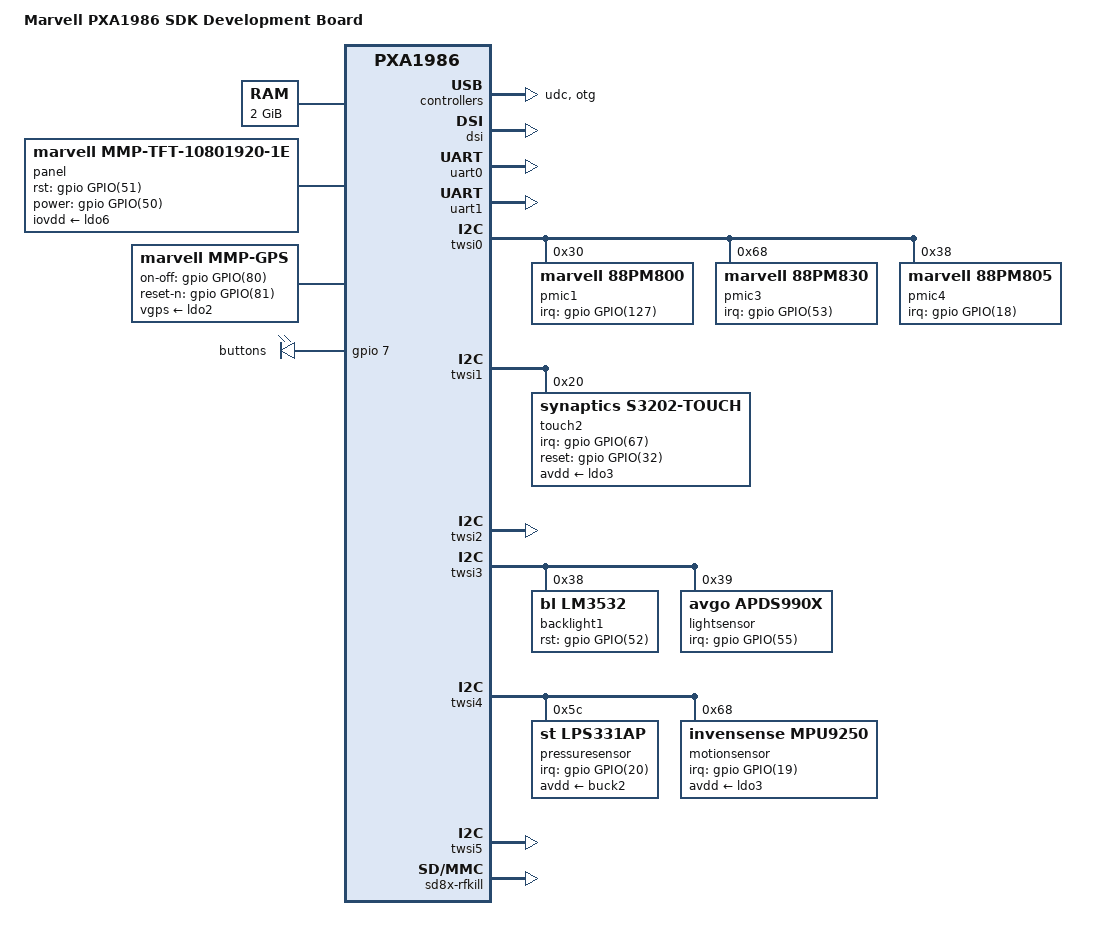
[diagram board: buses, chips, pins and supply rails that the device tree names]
/*
 *  Copyright (C) 2012 Marvell Technology Group Ltd.
 *  Author: Haojian Zhuang <haojian.zhuang@marvell.com>
 *
 *  This program is free software; you can redistribute it and/or modify
 *  it under the terms of the GNU General Public License version 2 as
 *  publishhed by the Free Software Foundation.
 */

/dts-v1/;
/memreserve/ 0x09000000 0x01000000;	/* ION (16MB)*/
/memreserve/ 0x17000000 0x01800000;	/* Frame buffer (24MB) */
/memreserve/ 0x08100000 0x00040000;	/* ramoops buffer (256KB) */
#include "pxa1986.dtsi"
#include "regulator.h"
#include <dt-bindings/mmc/pxa_sdhci.h>

#define KEY_MENU	139	/* Menu (show menu) */
#define KEY_HOMEPAGE		172	/* AC Home */
#define KEY_BACK		158	/* AC Back */
#define KEY_VOLUME_UP		115
#define KEY_VOLUME_DOWN		114

/ {
	model = "Marvell PXA1986 SDK Development Board";
	compatible = "mrvl,pxa1986sdk", "mrvl,pxa1986";

	chosen {
		bootargs = "console=ttyS0,115200 root=/dev/nfs nfsroot=192.168.1.100:/nfsroot/ ip=192.168.1.101:192.168.1.100::255.255.255.0::usb0:on";
	};

	memory {
		reg = <0x00000000 0x80000000>;
	};

	gic: interrupt-controller@d0022000 {
		status = "okay";
	};

	soc {
		axi@d4200000 {	/* AXI */
			usbphy: usbphy@d4220000 {
				marvell,udc-name = "mv-udc";
				marvell,otg-name = "mv-otg";
				status = "okay";
			};

			udc: udc@d4208100 {
				status = "okay";
			};

			otg: otg@d4208100 {
				status = "okay";
			};

			dsi: dsi@d420b800 {
				marvell,phy-name = "mmp_dsi1";
				marvell,plat-path-name = "mmp_pnpath";
				marvell,dsi-lanes = <4>;
				marvell,burst-mode = <2>;
				marvell,hbp-en;
				status = "okay";
			};

			vdma: vdma@d427f000 {
				marvell,vdma-num = <4>;
				isram = <&isram_z1>;
				status = "okay";
				vdma1 {
					marvell,vdma-id = <0>;
					marvell,sram-size = <17408>;
					marvell,is_vid = <0>;
				};
				vdma2 {
					marvell,vdma-id = <1>;
					marvell,sram-size = <15360>;
					marvell,is_vid = <0>;
				};
				vdma3 {
					marvell,vdma-id = <2>;
					marvell,sram-size = <17408>;
					marvell,is_vid = <1>;
				};
				vdma4 {
					marvell,vdma-id = <3>;
					marvell,sram-size = <8704>;
					marvell,is_vid = <1>;
				};
			};

			disp: disp@d420b000 {
				marvell,disp-name = "mmp_disp";
				marvell,path-num = <1>;
				status = "okay";
				path1 {
					marvell,path-name = "mmp_pnpath";
					marvell,overlay-num = <2>;
					marvell,overlay-table = <0>, <1>;
					marvell,output-type = <1>;
/* FIXME - Need to check path config */
					marvell,path-config = <0x10>;
					marvell,link-config = <1>;
					pn_sclk_clksrc {
						clksrc = "disp1";
					};
					disp1_clksrc {
						clksrc = "pll1_500";
					};
				};
			};
/* FIXME - need to add when enable camera */
#if 0
			ccic2: ccic@d420a800 {
				pinctrl-names = "default";
				pinctrl-0 = <&ccic2_pins>;
				pwdn-gpios = <&gpio GPIO(13) 0>;
				reset-gpios = <&gpio GPIO(111) 0>;
				fn_parent = "pll1_624";
				af_2v8-supply = <&ldo4>;
				avdd_2v8-supply = <&ldo13>;
				dovdd_1v8-supply = <&voutsw>;
				dvdd_1v2-supply = <&ldo3>;
				status = "okay";
			};
#endif
			fb: fb {
				marvell,fb-name = "mmp_fb";
				marvell,path-name = "mmp_pnpath";
				marvell,overlay-id = <1>;
				marvell,default-pixfmt = <0x108>;
				marvell,buffer-num = <3>;
				marvell,fb-mem = <0x17000000>;
				status = "okay";
			};

			adma: adma@c0200000 {
				status = "okay";
			};

/* EMMC card */
			sdh1: sdh@d4280000 {
				bus-width = <8>;
				marvell,sdh-flags = <(
						PXA_FLAG_SD_8_BIT_CAPABLE_SLOT |
						PXA_FLAG_ENABLE_CLOCK_GATING |
						PXA_FLAG_NEW_RX_CFG_REG |
						PXA_FLAG_EN_PM_RUNTIME
						)>;
				marvell,sdh-quirks2 = <SDHCI_QUIRK2_BUS_CLK_GATE_ENABLED>;
				marvell,sdh-host-caps = <MMC_CAP_1_8V_DDR>;
				non-removable;
				broken-cd;
				status = "okay";
			};

/* SD card */
			sdh3: sdh@d4281000 {
				marvell,sdh-flags = <(
						PXA_FLAG_ENABLE_CLOCK_GATING |
						PXA_FLAG_NEW_RX_CFG_REG |
						PXA_FLAG_TX_SEL_BUS_CLK
						)>;
				marvell,sdh-quirks2 = <SDHCI_QUIRK2_BUS_CLK_GATE_ENABLED>;
				cd-gpios = <&gpio GPIO(76) 0>;
				cd-inverted;
				vqmmc-supply	= <&ldo9>;
				vmmc-supply	= <&ldo4>;
				bus-width = <4>;
				wp-inverted;
				status = "okay";
			};

/* SDIO */
			sdh4: sdh@d4281800 {
				marvell,sdh-flags = <(
						PXA_FLAG_EN_PM_RUNTIME	|
						PXA_FLAG_WAKEUP_HOST	|
						PXA_FLAG_NEW_RX_CFG_REG	|
						PXA_FLAG_TX_SEL_BUS_CLK	|
						PXA_FLAG_ENABLE_CLOCK_GATING |
						PXA_FLAG_DISABLE_PROBE_CDSCAN
						)>;
				marvell,sdh-quirks2 = <(
						SDHCI_QUIRK2_BUS_CLK_GATE_ENABLED |
						SDHCI_QUIRK2_SDIO_SW_CLK_GATE
						)>;
				marvell,sdh-host-caps2 = <(MMC_CAP2_NO_VOLTAGE_SWITCH)>;
				bus-width = <4>;
				non-removable;
				broken-cd;
				keep-power-in-suspend;
				status = "okay";
			};
		};

		axi@f0400000 {
			dec@0xf0400000 {
				marvell,codec-type = <0>;
				marvell,hw-capacity = <0>;
				status = "okay";
			};

			pp@0xf0400000 {
				marvell,codec-type = <1>;
				marvell,hw-capacity = <0>;
				status = "okay";
			};

			enc@0xf0401000 {
				marvell,codec-type = <2>;
				marvell,hw-capacity = <0>;
				status = "okay";
			};
		};

		apb@d4000000 {

			/* SSPA port 0 */
			sspa0: sspa@c0204000 {
				status = "okay";
			};

			/* PDMA Controller 0 */
			pdma0: pdma@d4000000 {
				status = "okay";
			};

			/* UART for AP */
			uart0: uart@d4030000 {
				status = "okay";
			};

			/* UART for GPS */
			uart1: uart@d4017000 {
				status = "okay";
			};

/* FIXME - add when gpio will  be enabled */
#if 0
			gpio: gpio@d4019000 {
				status = "okay";
			};
#endif

			twsi0: i2c@d430b000 {
#if 0
				pinctrl-names = "default"; pinctrl-0 = <&twsi1_pins>;
#endif
				status = "okay";
				pmic1: 88pm822@30 {
					compatible = "marvell,88pm800";
					reg = <0x30>;
					interrupts = <GPIO(127) IRQ_TYPE_EDGE_FALLING>;
					interrupt-parent = <&gpio>;
					interrupt-controller;
					#interrupt-cells = <1>;
					marvell,88pm800-power-page-addr = <0x31>;
					marvell,88pm800-gpadc-page-addr = <0x32>;

					regulators {
						compatible = "marvell,88pm80x-regulator";

						buck1: BUCK1 {PM800_BUCK1;regulator-boot-on;regulator-always-on;};
						buck2: BUCK2 {PM800_BUCK2;regulator-boot-on;regulator-always-on;};
						buck3: BUCK3 {PM800_BUCK3;regulator-boot-on;regulator-always-on;};
						buck4: BUCK4 {PM800_BUCK4;regulator-boot-on;regulator-always-on;};
						buck5: BUCK5 {PM800_BUCK5;regulator-boot-on;regulator-always-on;};
						ldo1: LDO1 {PM800_LDO1;regulator-boot-on;regulator-always-on;};
						ldo2: LDO2 {PM800_LDO2;regulator-boot-on;};
						ldo3: LDO3 {PM800_LDO3;regulator-boot-on;regulator-always-on;};
						ldo4: LDO4 {PM800_LDO4;regulator-boot-on;};
						ldo5: LDO5 {PM800_LDO5;regulator-boot-on;regulator-always-on;};
						ldo6: LDO6 {PM800_LDO6;regulator-boot-on;};
						ldo7: LDO7 {PM800_LDO7;regulator-boot-on;};
						ldo8: LDO8 {PM800_LDO8;regulator-boot-on;};
						ldo9: LDO9 {PM800_LDO9;regulator-boot-on;};
						ldo10: LDO10 {PM800_LDO10;};
						ldo11: LDO11 {PM800_LDO11;regulator-boot-on;};
						ldo12: LDO12 {PM800_LDO12;regulator-boot-on;};
						ldo13: LDO13 {PM800_LDO13;regulator-boot-on;};
						ldo14: LDO14 {PM800_LDO14;regulator-boot-on;regulator-always-on;};
						voutsw: VOUTSW {PM800_VOUTSW;};
					};

					vibrator: vibrator {
						compatible = "marvell,88pm80x-vibrator";
						min_timeout = <10>;
						duty_cycle = <0x3f>;
						marvell,power-supply = <&ldo11>;
					};

					headset {
						compatible = "marvell,88pm80x-headset";
						marvell,switch-name = "h2w";
						marvell,headset-flag = <1>;
						marvell,hook-press-th = <60>;
						marvell,vol-up-press-th = <250>;
						marvell,vol-down-press-th = <500>;
						marvell,mic-det-th = <600>;
						marvell,press-release-th = <600>;
						marvell,micbias-supply = <&ldo14>;
					};
				};

				pmic3: 88pm830@68 {
					compatible = "marvell,88pm830";

					/* gpio 4, 5, 75 */
					pinctrl-names = "default";
#if 0
					pinctrl-0 = <&pmic3_pins>;
#endif
					reg = <0x68>;
					interrupt-parent = <&gpio>;
					interrupt-controller;
					interrupts = <GPIO(53) IRQ_TYPE_EDGE_FALLING>;
					#interrupt-cells = <1>;
					/* IRQF_ONESHOT | IRQF_TRIGGER_FALLING */
					marvell,88pm830-irq-flags =  <0x2002>;
					charger {
						compatible = "marvell,88pm830-chg";
						prechg-current = <260>;	/* mA */
						prechg-voltage = <3400>; /* mV */
						prechg-timeout = <16>; /* minute */
						fastchg-eoc = <50>; /* mA */
						fastchg-voltage = <4200>; /* mV */
						fastchg-timeout = <4>; /* hour */
						over-voltage = <4300>; /* mV */
						no-thermal-support = <0>;
						thermal-threshold = <0xf 0xf 0x0 0x0>;
						temp-configure = <0x22>;
						temp-threshold = <150>;
						mppt-weight = <0x2>; /* 25% */
						mppt-period = <0x5>; /* 10ms */
						mppt-bidir = <1>;  /* enable bi-directional */

					};

					battery {
						compatible = "marvell,88pm830-bat";
						bat-ntc-support = <1>;
						bat-capacity = <2400>;	/* mAh */
						external-resistor = <200>; /* mohm */
						sleep-period = <1000>; /* second */
						low-threshold = <30>; /* % */
						high-threshold = <50>; /* % */
						tbat-mon-en = <0>;
						/* ext cold thr: -20, -17.5, -15, dummy */
						/* cold thr:       0,   2.5,   5, dummy */
						/* hot thr:       35,  37.5,  40, dummy */
						/* ext hot thr:   40,  42.5,  45, dummy */
						r-tbat-thr = <
							77476	67851	59575	0
							28695	25603	22891	0
							6681	6291	5759	0
							5759	5280	4847	0
						>;
					};

					usb {
						compatible = "marvell,88pm830-vbus";
						gpadc-number = <1>;
					};
				};

				pmic4: 88pm805@38 {
					compatible = "marvell,88pm805";
					reg = <0x38>;
					interrupt-parent = <&gpio>;
					interrupts = <GPIO(18) 1>;
				};
			};

			twsi1: i2c@d4011000 {
#if 0
				pinctrl-names = "default"; pinctrl-0 = <&twsi2_pins>;
#endif
				status = "okay";
				touch2: s3202@20 {
					compatible = "synaptics,s3202-touch";
#if 0
					pinctrl-names = "default"; pinctrl-0 = <&touch_pins>;
#endif
					reg = <0x20>;
					interrupt-parent = <&gpio>;
					interrupts = <GPIO(67) 0x1>;
					/* IRQF_ONESHOT | IRQF_TRIGGER_FALLING */
					synaptics,irq-flags =  <0x2002>;
					synaptics,irq-gpios = <&gpio GPIO(67) 0>;
					synaptics,reset-gpios = <&gpio GPIO(32) 0>;
					synaptics,sensor_res_x = <1080>;
					synaptics,sensor_res_y = <1920>;
					synaptics,sensor_max_x = <1080>;
					synaptics,sensor_max_y = <1920>;
					synaptics,sensor_margin_x = <0>;
					synaptics,sensor_margin_y = <0>;
					synaptics,button_maps = /bits/ 8 <KEY_MENU KEY_HOMEPAGE KEY_BACK>;
					synaptics,num_button = <3>;
					avdd-supply = <&ldo3>;
				};

			};

			twsi2: i2c@d401b000 {
#if 0
				pinctrl-names = "default"; pinctrl-0 = <&twsi3_pins>;
#endif
				status = "okay";
			};

			twsi3: i2c@d4032000 {
#if 0
				pinctrl-names = "default"; pinctrl-0 = <&twsi4_pins>;
#endif
				status = "okay";
				backlight1: lm3532@38 {
					compatible = "bl,lm3532";
					reg = <0x38>;
					flags = <0x10>;
					ramp_time = <0>;
					ctrl_a_fs_current = <0x13>;
					ctrl_a_mapping_mode = <0x2>;
					ctrl_a_pwm = <0x82>;
					rst_gpio = <&gpio GPIO(52) 0>;
				};
				lightsensor: apds990x@39 {
					compatible = "avgo,apds990x";
					reg = <0x39>;
					interrupt-parent = <&gpio>;
					interrupts = <GPIO(55) 0x1>;
				};
			};

			twsi4: i2c@d4033000 {
#if 0
				pinctrl-names = "default"; pinctrl-0 = <&twsi5_pins>;
#endif
				status = "okay";
				pressuresensor: lps331ap@5c {
					compatible = "st,lps331ap";
					reg = <0x5c>;
					interrupt-parent = <&gpio>;
					interrupts = <GPIO(20) 0x1>;
					lps331ap,poll_interval = <1000>;
					avdd-supply = <&buck2>;
				};

				motionsensor: mpu9250@68 {
					compatible = "invensense,mpu9250";
					reg = <0x68>;
					interrupt-parent = <&gpio>;
					interrupts = <GPIO(19) 0x1>;
					invensense,irq-gpios = <&gpio GPIO(19) 0x00>;
					avdd-supply = <&ldo3>;
				};
			};

			twsi5: i2c@d4034000 {
#if 0
				pinctrl-names = "default"; pinctrl-0 = <&twsi6_pins>;
#endif
				status = "okay";
			};

			thermal0: thermal@d4013200 {
				status = "okay";
			};

			thermal1: thermal@d4013218 {
				status = "okay";
			};

			thermal2: thermal@d4013230 {
				status = "okay";
			};

			rtc: rtc@d4086000 {
				status = "okay";
			};

			keypad: keypad@d4085000 {
				marvell,direct-keys;
				marvell,debounce-interval = <30>;
				marvell,direct-key-low-active = <1>;
				marvell,direct-key-count = <2>;
				marvell,direct-key-map = <
					KEY_VOLUME_UP
					KEY_VOLUME_DOWN
				>;
				status = "okay";
			};

			acipc: acipc@d4303000 {
				status = "okay";
			};

			acmipc: acmipc@d4304000 {
				status = "okay";
			};

/* FIXME - we don't use pinmux in kernel. */
#if 0
			pmx: pinmux@d4320000 {
				status = "okay";
				/* pin base, nr pins & gpio function */
				pinctrl-single,gpio-range = <PXA1928_GPIO_PINMUX>;

				uart1_pins: pinmux_uart1_pins {
					pinctrl-single,pins = <P00_UART1_RXD  P01_UART1_TXD
							       P02_UART1_CTS  P03_UART1_RTS>;
					MFP_DEFAULT;
				};

				uart3_pins: pinmux_uart3_pins {
					pinctrl-single,pins = <P33_UART3_RXD P34_UART3_TXD>;
					MFP_DEFAULT;
				};

				uart4_pins: pinmux_uart4_pins {
					pinctrl-single,pins = <P48_UART4_RXD P47_UART4_TXD
								P50_UART4_RTS P49_UART4_CTS>;
					MFP_DEFAULT;
				};

				pwm2_pins: pinmux_pwm2_pins {
					pinctrl-single,pins = <P51_PWM2>;
					MFP_DEFAULT;
				};

				ccic2_pins: pinmux_ccic2_pins {
					pinctrl-single,pins = <P14_CAM_MCLK>;
					MFP_DEFAULT;
				};

				twsi1_pins: pinmux_twsi1_pins {
					pinctrl-single,pins = <P67_PWR_SCL P68_PWR_SDA>;
					MFP_DEFAULT;
				};

				twsi2_pins: pinmux_twsi2_pins {
					pinctrl-single,pins = <P43_TWSI2_SCL P44_TWSI2_SDA>;
					MFP_DEFAULT;
				};

				twsi3_pins: pinmux_twsi3_pins {
					pinctrl-single,pins = <P31_TWSI3_SCL P32_TWSI3_SDA>;
					MFP_DEFAULT;
				};

				twsi4_pins: pinmux_twsi4_pins {
					pinctrl-single,pins = <P46_TWSI4_SCL P45_TWSI4_SDA>;
					MFP_DEFAULT;
				};

				twsi5_pins: pinmux_twsi5_pins {
					pinctrl-single,pins = <P29_TWSI5_SCL P30_TWSI5_SDA>;
					MFP_DEFAULT;
				};

				twsi6_pins: pinmux_twsi6_pins {
					pinctrl-single,pins = <P35_TWSI6_SCL P36_TWSI6_SDA>;
					MFP_DEFAULT;
				};

				sspa0_pins: pinmux_sspa0_pins {
					pinctrl-single,pins = <P20_I2S_SYSCLK P21_I2S_BITCLK
					P22_I2S_SYNC P23_I2S_DATA_OUT P24_I2S_SDATA_IN>;
					DS_SLOW0;PULL_NONE;EDGE_NONE;LPM_NONE;
				};

				pmic3_pins: pinmux_88pm830_pins {
					pinctrl-single,pins = <P75_830_IRQ P04_830_FLASH P05_830_LED_EN>;
					MFP_DEFAULT;
				};

				touch_pins: pinmux_touch_pins {
					pinctrl-single,pins = <P52_TOUCH_IRQ P126_TOUCH_RESET>;
					MFP_DEFAULT;
				};

				sdh1_pins_pullup: pinmux_sdh1_pins_pullup {
					pinctrl-single,pins = <
						P80_MMC3_DAT7
						P81_MMC3_DAT6
						P82_MMC3_DAT5
						P83_MMC3_DAT4
						P84_MMC3_DAT3
						P85_MMC3_DAT2
						P86_MMC3_DAT1
						P87_MMC3_DAT0
						P89_MMC3_CMD
						P90_MMC3_RST
					>;
					MFP_PULL_UP;
				};

				sdh1_pins_pulldn: pinmux_sdh1_pins_pulldn {
					pinctrl-single,pins = <
						P88_MMC3_CLK
					>;
					MFP_PULL_DOWN;
				};

				sdh3_pins_pullup: pinmux_sdh3_pins_pullup {
					pinctrl-single,pins = <
						P59_MMC1_DAT3
						P60_MMC1_DAT2
						P61_MMC1_DAT1
						P62_MMC1_DAT0
						P63_MMC1_CMD
						P65_MMC1_CD_N
						P66_MMC1_WP
					>;
					MFP_PULL_UP;
				};

				sdh3_pins_pulldn: pinmux_sdh3_pins_pulldn {
					pinctrl-single,pins = <
						P64_MMC1_CLK
					>;
					MFP_PULL_DOWN;
				};

			};
#endif
		};

		sound {
			compatible = "marvell,mmp-88pm805-snd-card";
			mrvl,sspa-controllers = <&sspa0>;
		};

		soc-camera@0 {
			status = "okay";
		};

		/*
		 * ramoops:
		 * 256 KB memory starts at 0x8100000
		 * pstore dump: 2 chunks, totall 64 KB, 32 KB each
		 * console size: 192 KB
		 * no dump_oops
		 */
		ramoops {
			compatible = "pstore,ramoops";
			mem-size = <0x40000>;
			mem-address = <0x8100000>;
			record-size = <0x8000>;
			console-size = <0x30000>;
			dump-oops = <0>;
			status = "okay";
		};
	};

	ion {
		marvell,ion-nr = <2>;
		status = "okay";
		heap1 {
			marvell,ion-name = "carveout_heap";
			marvell,ion-type = <2>;
			marvell,ion-id = <2>;
			marvell,ion-base = <0x09000000>;
			marvell,ion-size = <0x01000000>;
		};
		heap2 {
			marvell,ion-name = "system_heap";
			marvell,ion-type = <0>;
			marvell,ion-id = <0>;
		};
	};

	panel: tft-10801920-1e {
		compatible = "marvell,mmp-tft-10801920-1e";
		marvell,path-name = "mmp_pnpath";
		rst_gpio = <&gpio GPIO(51) 0>;
		power_gpio = <&gpio GPIO(50) 0>;
		iovdd-supply = <&ldo6>;
		status = "okay";
	};

	sd8x-rfkill {
		sd-host = <&sdh4>;
		pd-gpio = <&gpio 41 0>;
		rst-gpio = <&gpio 22 0>;
		status = "okay";
	};

	gps: mmp-gps {
		compatible = "marvell,mmp-gps";
		vgps-supply = <&ldo2>;
		on-off-gpio = <&gpio GPIO(80) 0>;
		reset-n-gpio = <&gpio GPIO(81) 0>;
	};

	leds {
		compatible = "gpio-leds";
		buttons {
			gpios = <&gpio 7 0>;
			linux,default-trigger = "on";
			default-state = "off";
		};
	};

/* FIXME - need to enable when vpu will be enabled */
#if 0
	dec-devfreq {
		status = "okay";
	};

	enc-devfreq {
		status = "okay";
	};
#endif

/* FIXME - need to enable when coresight will be enabled */
#if 0
	coresight {
		status = "okay";
	};
#endif
};
